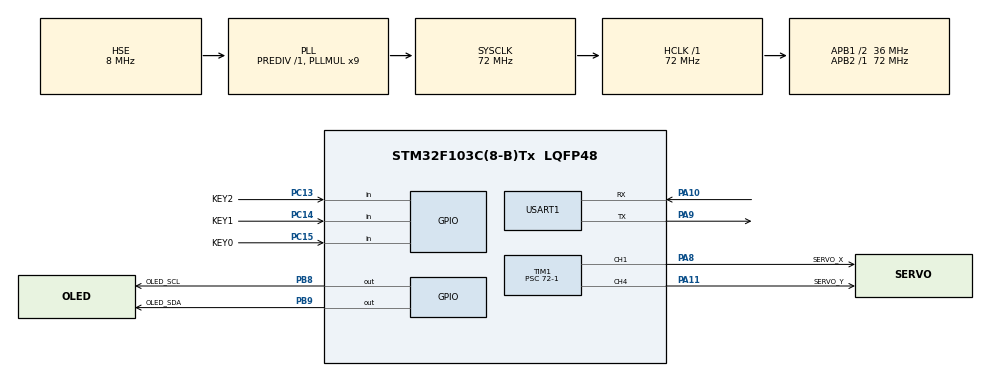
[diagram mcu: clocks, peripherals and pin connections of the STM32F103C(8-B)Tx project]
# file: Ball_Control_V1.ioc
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Dma.Request0=USART1_RX
Dma.USART1_RX.0.Direction=DMA_PERIPH_TO_MEMORY
Dma.USART1_RX.0.Instance=DMA1_Channel5
Dma.USART1_RX.0.MemDataAlignment=DMA_MDATAALIGN_BYTE
Dma.USART1_RX.0.MemInc=DMA_MINC_ENABLE
Dma.USART1_RX.0.Mode=DMA_CIRCULAR
Dma.USART1_RX.0.PeriphDataAlignment=DMA_PDATAALIGN_BYTE
Dma.USART1_RX.0.PeriphInc=DMA_PINC_DISABLE
Dma.USART1_RX.0.Priority=DMA_PRIORITY_LOW
Mcu.Family=STM32F1
Mcu.Name=STM32F103C(8-B)Tx
Mcu.Package=LQFP48
NVIC.DMA1_Channel5_IRQn=true\:3\:0\:true\:false\:true\:false\:true\:true
NVIC.PriorityGroup=NVIC_PRIORITYGROUP_4
NVIC.TIM2_IRQn=true\:1\:0\:true\:false\:true\:true\:true\:true
NVIC.USART1_IRQn=true\:2\:0\:true\:false\:true\:true\:true\:true
PA10.Mode=Asynchronous
PA10.Signal=USART1_RX
PA11.GPIO_Label=SERVO_Y
PA11.Signal=S_TIM1_CH4
PA13.Mode=Serial_Wire
PA13.Signal=SYS_JTMS-SWDIO
PA14.Mode=Serial_Wire
PA14.Signal=SYS_JTCK-SWCLK
PA8.GPIO_Label=SERVO_X
PA8.Signal=S_TIM1_CH1
PA9.Mode=Asynchronous
PA9.Signal=USART1_TX
PB8.GPIO_Label=OLED_SCL
PB8.GPIO_Speed=GPIO_SPEED_FREQ_HIGH
PB8.Signal=GPIO_Output
PB9.GPIO_Label=OLED_SDA
PB9.GPIO_Speed=GPIO_SPEED_FREQ_HIGH
PB9.Signal=GPIO_Output
PC13-TAMPER-RTC.GPIO_Label=KEY2
PC13-TAMPER-RTC.GPIO_PuPd=GPIO_PULLUP
PC13-TAMPER-RTC.Signal=GPIO_Input
PC14-OSC32_IN.GPIO_Label=KEY1
PC14-OSC32_IN.GPIO_PuPd=GPIO_PULLUP
PC14-OSC32_IN.Signal=GPIO_Input
PC15-OSC32_OUT.GPIO_Label=KEY0
PC15-OSC32_OUT.GPIO_PuPd=GPIO_PULLUP
PC15-OSC32_OUT.Signal=GPIO_Input
PD0-OSC_IN.Mode=HSE-External-Oscillator
PD0-OSC_IN.Signal=RCC_OSC_IN
PD1-OSC_OUT.Mode=HSE-External-Oscillator
PD1-OSC_OUT.Signal=RCC_OSC_OUT
ProjectManager.HeapSize=0x200
ProjectManager.StackSize=0x400
ProjectManager.TargetToolchain=Makefile
RCC.AHBFreq_Value=72000000
RCC.APB1CLKDivider=RCC_HCLK_DIV2
RCC.APB1Freq_Value=36000000
RCC.APB1TimFreq_Value=72000000
RCC.APB2Freq_Value=72000000
RCC.APB2TimFreq_Value=72000000
RCC.HCLKFreq_Value=72000000
RCC.PLLMUL=RCC_PLL_MUL9
RCC.PLLSourceVirtual=RCC_PLLSOURCE_HSE
RCC.SYSCLKFreq_VALUE=72000000
RCC.SYSCLKSource=RCC_SYSCLKSOURCE_PLLCLK
RCC.USBFreq_Value=72000000
SH.S_TIM1_CH1.0=TIM1_CH1,PWM Generation1 CH1
SH.S_TIM1_CH4.0=TIM1_CH4,PWM Generation4 CH4
TIM1.AutoReloadPreload=TIM_AUTORELOAD_PRELOAD_ENABLE
TIM1.Channel-PWM\ Generation1\ CH1=TIM_CHANNEL_1
TIM1.Channel-PWM\ Generation4\ CH4=TIM_CHANNEL_4
TIM1.Period=20000-1
TIM1.Prescaler=72-1
TIM2.Period=20000-1
TIM2.Prescaler=72-1
USART1.VirtualMode=VM_ASYNC
VP_TIM1_VS_ClockSourceINT.Mode=Internal
VP_TIM2_VS_ClockSourceINT.Mode=Internal
board=custom

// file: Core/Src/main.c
/* USER CODE BEGIN Header */
/**
  ******************************************************************************
  * @file           : main.c
  * @brief          : Main program body
  ******************************************************************************
  * @attention
  *
  * Copyright (c) 2026 STMicroelectronics.
  * All rights reserved.
  *
  * This software is licensed under terms that can be found in the LICENSE file
  * in the root directory of this software component.
  * If no LICENSE file comes with this software, it is provided AS-IS.
  *
  ******************************************************************************
  */
/* USER CODE END Header */
#include "main.h"
#include "dma.h"
#include "tim.h"
#include "usart.h"
#include "gpio.h"

/* USER CODE BEGIN Includes */
#include <string.h>
#include <stdlib.h> // strtof 所在库
#include <stdio.h>
#include <math.h>   // fabsf
#include "oled.h"   // 引入真实的 OLED 驱动
/* USER CODE END Includes */

/* USER CODE BEGIN PD */
#define CONTROL_DT                0.02f
#define DERIV_TAU                 0.03f
#define CONTROL_OUTPUT_LIMIT      300.0f
#define INTEGRAL_OUTPUT_LIMIT      80.0f   /* [C2] I项输出限幅 */
#define ERROR_DEADBAND_MM           2.0f   /* [C2] 死区 */

#define SERVO_CENTER_US           1500.0f
#define SERVO_MIN_US              1200.0f
#define SERVO_MAX_US              1800.0f

#define SERVO_X_DIR               1
#define SERVO_Y_DIR              -1

#define POS_MIN_MM                0.0f
#define POS_MAX_MM                300.0f
#define POS_FILTER_ALPHA          0.5f   /* [C1] 加快低通响应 */

#define LOST_FRAME_THRESHOLD      5
#define RX_TIMEOUT_MS             120U

/* USER CODE END PD */

void SystemClock_Config(void);

/* USER CODE BEGIN 0 */
typedef enum {
  STATE_INIT = 0,
  STATE_RUN,
  STATE_LOST
} ControlState;

typedef struct {
    float Kp, Ki, Kd;
    float integral;
  float last_measurement;
  float last_derivative;
} PID_TypeDef;

volatile PID_TypeDef pid_x, pid_y;

volatile ControlState control_state = STATE_INIT;

volatile float target_x = 150.0f;
volatile float target_y = 150.0f;
volatile float current_x = 0.0f;
volatile float current_y = 0.0f;
float last_pos_x = 0.0f;
float last_pos_y = 0.0f;
volatile uint8_t pos_filter_seeded = 0;  /* [C1] 首帧seed标志 */

uint8_t rx_buffer[50];
volatile uint8_t parse_buffer[50];
volatile uint8_t rx_flag = 0;
volatile uint16_t rx_len = 0;

volatile uint8_t data_ready_flag = 0;
volatile uint8_t servo_center_flag = 0;
volatile uint32_t last_rx_tick = 0;
int lost_frame_count = 0;
int invalid_frame_count = 0;

/* [C1] 重置PID内部状态 */
static void PID_Reset(volatile PID_TypeDef *pid, float measurement)
{
  pid->integral = 0.0f;
  pid->last_measurement = measurement;
  pid->last_derivative = 0.0f;
}

/* [C1] 进入LOST状态，同时清滤波器和PID历史 */
static void Control_EnterLostState(void)
{
  data_ready_flag = 0;
  servo_center_flag = 1;
  lost_frame_count = LOST_FRAME_THRESHOLD;
  control_state = STATE_LOST;
  pos_filter_seeded = 0;
  PID_Reset(&pid_x, current_x);
  PID_Reset(&pid_y, current_y);
}
/* [T1] 判断字符串是否是纯空白（不计入 invalid_frame_count） */
static uint8_t IsBlankLine(const char *p)
{
  while (*p == ' ' || *p == '\r' || *p == '\n' || *p == '\t') {
    p++;
  }
  return (*p == '\0');
}
/* USER CODE END 0 */

int main(void)
{

  /* MCU Configuration--------------------------------------------------------*/

  /* Reset of all peripherals, Initializes the Flash interface and the Systick. */
  HAL_Init();

  /* Configure the system clock */
  SystemClock_Config();

  /* Initialize all configured peripherals */
  MX_GPIO_Init();
  MX_DMA_Init();
  MX_TIM1_Init();
  MX_USART1_UART_Init();
  MX_TIM2_Init();
  /* USER CODE BEGIN 2 */
pid_x.Kp = 1.2f; pid_x.Ki = 0.05f; pid_x.Kd = 0.3f; pid_x.integral = 0.0f; pid_x.last_measurement = 0.0f; pid_x.last_derivative = 0.0f;
pid_y = pid_x;

// OLED 初始化与开机动画 (注意这里函数名改成了 OLED_ShowStr，并且加了 unsigned char* 强转消除警告)
OLED_Init();
OLED_Clear();
OLED_ShowStr(0, 0, (unsigned char*)"Ball Plate V1.0", 1);
OLED_ShowStr(0, 2, (unsigned char*)"System Booting...", 1);
HAL_Delay(500);
OLED_Clear();

/* [S1] UART DMA 加返回值检查 */
if (HAL_UART_Receive_DMA(&huart1, rx_buffer, sizeof(rx_buffer)) != HAL_OK) {
    Error_Handler();
}
__HAL_UART_ENABLE_IT(&huart1, UART_IT_IDLE);
last_rx_tick = HAL_GetTick();

/* [S1] 先写中位再开PWM，用 SERVO_CENTER_US 替代硬编码 */
__HAL_TIM_SET_COMPARE(&htim1, TIM_CHANNEL_1, (uint32_t)SERVO_CENTER_US);
__HAL_TIM_SET_COMPARE(&htim1, TIM_CHANNEL_4, (uint32_t)SERVO_CENTER_US);

if (HAL_TIM_PWM_Start(&htim1, TIM_CHANNEL_1) != HAL_OK) {
    Error_Handler();
}
if (HAL_TIM_PWM_Start(&htim1, TIM_CHANNEL_4) != HAL_OK) {
    Error_Handler();
}

HAL_Delay(500);  /* [S1] PWM启动后等待舵机机械归中 */

if (HAL_TIM_Base_Start_IT(&htim2) != HAL_OK) {
    Error_Handler();
}
  /* USER CODE END 2 */

  /* Infinite loop */
  /* USER CODE BEGIN WHILE */
 uint32_t last_oled_tick = 0;

while (1)
{
    // === 阶段 A: 解析串口数据 ===
    if (rx_flag == 1)
    {
        char local_buf[50];

        __disable_irq();
        rx_flag = 0;
        memcpy(local_buf, (void*)parse_buffer, sizeof(local_buf));
        __enable_irq();

        char *p = local_buf;
        float raw_x = 0.0f;
        float raw_y = 0.0f;
        uint8_t valid_pos_frame = 0;

        while (*p == ' ' || *p == '\r' || *p == '\n' || *p == '\t') {
          p++;
        }

        if (p[0] == 'X' && p[1] == ':') {
            char *endptr;
          raw_x = strtof(p + 2, &endptr);
          char *comma = strchr(endptr, ',');
            if (comma && *(comma + 1) == 'Y' && *(comma + 2) == ':') {
              char *y_start = comma + 3;
              char *y_end;
              raw_y = strtof(y_start, &y_end);
              if (y_end != y_start &&
                  (*y_end == '\0' || *y_end == '\r' || *y_end == '\n' ||
                   *y_end == ' ' || *y_end == '\t')) {
                valid_pos_frame = 1;
              }
            }
        }

        if (valid_pos_frame) {
          raw_x = fminf(POS_MAX_MM, fmaxf(POS_MIN_MM, raw_x));
          raw_y = fminf(POS_MAX_MM, fmaxf(POS_MIN_MM, raw_y));

          /* [C1] 首帧/恢复用原始值seed，避免从0低通 */
          if (!pos_filter_seeded || control_state != STATE_RUN) {
            last_pos_x = raw_x;
            last_pos_y = raw_y;
            pos_filter_seeded = 1U;
          } else {
            last_pos_x = POS_FILTER_ALPHA * raw_x + (1.0f - POS_FILTER_ALPHA) * last_pos_x;
            last_pos_y = POS_FILTER_ALPHA * raw_y + (1.0f - POS_FILTER_ALPHA) * last_pos_y;
          }

          current_x = last_pos_x;
          current_y = last_pos_y;

          /* [C1] 状态恢复时重置PID历史 */
          if (control_state != STATE_RUN) {
            PID_Reset(&pid_x, current_x);
            PID_Reset(&pid_y, current_y);
          }

          last_rx_tick = HAL_GetTick();
          data_ready_flag = 1U;
          lost_frame_count = 0;
          invalid_frame_count = 0;
          control_state = STATE_RUN;
        }
        else if (p[0] == 'T' && p[1] == ':') {
            char *endptr;
            float temp_x = strtof(p + 2, &endptr);
            char *comma = strchr(endptr, ',');
            if (comma && *(comma + 1) == 'Y' && *(comma + 2) == ':') {
              char *y_start = comma + 3;
              char *y_end;
              float temp_y = strtof(y_start, &y_end);
              if (y_end != y_start &&
                  (*y_end == '\0' || *y_end == '\r' || *y_end == '\n' ||
                   *y_end == ' ' || *y_end == '\t')) {
                target_x = fminf(POS_MAX_MM, fmaxf(POS_MIN_MM, temp_x));
                target_y = fminf(POS_MAX_MM, fmaxf(POS_MIN_MM, temp_y));
              }
            }
        }
        else if (strncmp(p, "PID:", 4) == 0) {
          char *cursor = p + 4;
          char *endptr;
          float p_val = strtof(cursor, &endptr);
          if (endptr != cursor && *endptr == ',') {
            cursor = endptr + 1;
            float i_val = strtof(cursor, &endptr);
            if (endptr != cursor && *endptr == ',') {
              cursor = endptr + 1;
              float d_val = strtof(cursor, &endptr);

              /* [C3] 跳过尾部空白 */
              while (*endptr == ' ' || *endptr == '\r' || *endptr == '\n' || *endptr == '\t') {
                endptr++;
              }

              /* [C3] 帧尾干净 + 数值有效 + 范围检查，全满足才写入 */
              if (endptr != cursor &&
                  *endptr == '\0' &&
                  isfinite(p_val) && isfinite(i_val) && isfinite(d_val) &&
                  p_val > 0.0f && p_val < 10.0f &&
                  i_val >= 0.0f && i_val < 5.0f &&
                  d_val >= 0.0f && d_val < 5.0f) {

                __disable_irq();
                /* [C3] 逐字段赋值，避免 pid_y=pid_x 污染 last_measurement */
                pid_x.Kp = p_val;
                pid_x.Ki = i_val;
                pid_x.Kd = d_val;
                pid_y.Kp = p_val;
                pid_y.Ki = i_val;
                pid_y.Kd = d_val;
                PID_Reset(&pid_x, current_x);
                PID_Reset(&pid_y, current_y);
                __enable_irq();
              }
            }
          }
        }
        else if (strncmp(p, "LOST", 4) == 0 &&
                 (p[4] == '\0' || p[4] == '\r' || p[4] == '\n' ||
                  p[4] == ' ' || p[4] == '\t')) {
          Control_EnterLostState();  /* [C1] 清PID/滤波状态 */
        }
            else if (!IsBlankLine(p)) {  /* [T1] 空白帧不计入 invalid */
              invalid_frame_count++;
              data_ready_flag = 0;
              if (invalid_frame_count >= LOST_FRAME_THRESHOLD) {
                Control_EnterLostState();
              }
            }
    }

    // === 阶段 B: OLED 异步显示 ===
    if (HAL_GetTick() - last_oled_tick >= 100)
    {
        last_oled_tick = HAL_GetTick();
        char disp_buf[20];

        sprintf(disp_buf, "Cur:X%03d Y%03d", (int)current_x, (int)current_y);
        OLED_ShowStr(0, 0, (unsigned char*)disp_buf, 1);

        sprintf(disp_buf, "Tar:X%03d Y%03d", (int)target_x, (int)target_y);
        OLED_ShowStr(0, 2, (unsigned char*)disp_buf, 1);

        if (control_state == STATE_RUN)       OLED_ShowStr(0, 4, (unsigned char*)"Stat: TRACKING ", 1);
        else if (control_state == STATE_LOST) OLED_ShowStr(0, 4, (unsigned char*)"Stat: LOST/CENT", 1);
        else                                  OLED_ShowStr(0, 4, (unsigned char*)"Stat: WAIT VIS ", 1);

        sprintf(disp_buf, "L-Cnt:%d   ", lost_frame_count);
        OLED_ShowStr(0, 6, (unsigned char*)disp_buf, 1);
    }
    /* USER CODE END WHILE */

  }
}

void SystemClock_Config(void)
{
  RCC_OscInitTypeDef RCC_OscInitStruct = {0};
  RCC_ClkInitTypeDef RCC_ClkInitStruct = {0};

  /** Initializes the RCC Oscillators according to the specified parameters
  * in the RCC_OscInitTypeDef structure.
  */
  RCC_OscInitStruct.OscillatorType = RCC_OSCILLATORTYPE_HSE;
  RCC_OscInitStruct.HSEState = RCC_HSE_ON;
  RCC_OscInitStruct.HSEPredivValue = RCC_HSE_PREDIV_DIV1;
  RCC_OscInitStruct.HSIState = RCC_HSI_ON;
  RCC_OscInitStruct.PLL.PLLState = RCC_PLL_ON;
  RCC_OscInitStruct.PLL.PLLSource = RCC_PLLSOURCE_HSE;
  RCC_OscInitStruct.PLL.PLLMUL = RCC_PLL_MUL9;
  if (HAL_RCC_OscConfig(&RCC_OscInitStruct) != HAL_OK)
  {
    Error_Handler();
  }

  /** Initializes the CPU, AHB and APB buses clocks
  */
  RCC_ClkInitStruct.ClockType = RCC_CLOCKTYPE_HCLK|RCC_CLOCKTYPE_SYSCLK
                              |RCC_CLOCKTYPE_PCLK1|RCC_CLOCKTYPE_PCLK2;
  RCC_ClkInitStruct.SYSCLKSource = RCC_SYSCLKSOURCE_PLLCLK;
  RCC_ClkInitStruct.AHBCLKDivider = RCC_SYSCLK_DIV1;
  RCC_ClkInitStruct.APB1CLKDivider = RCC_HCLK_DIV2;
  RCC_ClkInitStruct.APB2CLKDivider = RCC_HCLK_DIV1;

  if (HAL_RCC_ClockConfig(&RCC_ClkInitStruct, FLASH_LATENCY_2) != HAL_OK)
  {
    Error_Handler();
  }
}

/* USER CODE BEGIN 4 */
#define LIMIT(val, min, max) ((val) < (min) ? (min) : ((val) > (max) ? (max) : (val)))

float PID_Calculate(volatile PID_TypeDef *pid, float target, float current, float dt)
{
  if (dt <= 0.0f) {
    dt = CONTROL_DT;
  }

    float error = target - current;
    /* [C2] 死区：目标附近不产生控制量 */
    if (fabsf(error) < ERROR_DEADBAND_MM) {
      error = 0.0f;
    }

    pid->integral += (error * dt);

    /* [C2] 积分限幅按I项输出量级 */
    if (pid->Ki > 0.0f) {
      float integral_limit = INTEGRAL_OUTPUT_LIMIT / pid->Ki;
      pid->integral = LIMIT(pid->integral, -integral_limit, integral_limit);
    } else {
      pid->integral = 0.0f;
    }

  float raw_derivative = -(current - pid->last_measurement) / dt;
  float alpha = dt / (DERIV_TAU + dt);
  pid->last_derivative = alpha * raw_derivative + (1.0f - alpha) * pid->last_derivative;
  pid->last_measurement = current;

  float output = (pid->Kp * error) + (pid->Ki * pid->integral) + (pid->Kd * pid->last_derivative);
  output = LIMIT(output, -CONTROL_OUTPUT_LIMIT, CONTROL_OUTPUT_LIMIT);

  return output;
}

void HAL_TIM_PeriodElapsedCallback(TIM_HandleTypeDef *htim)
{
    if (htim->Instance == TIM2)
    {
    if ((HAL_GetTick() - last_rx_tick) > RX_TIMEOUT_MS) {
      Control_EnterLostState();  /* [C1] 超时清PID/滤波状态 */
    }

        if(servo_center_flag) {
            servo_center_flag = 0;
            __HAL_TIM_SET_COMPARE(&htim1, TIM_CHANNEL_1, (uint32_t)SERVO_CENTER_US);
            __HAL_TIM_SET_COMPARE(&htim1, TIM_CHANNEL_4, (uint32_t)SERVO_CENTER_US);
            return;
        }

    if(data_ready_flag == 0 || control_state != STATE_RUN) return;

    float pid_out_x = PID_Calculate(&pid_x, target_x, current_x, CONTROL_DT);
    float pid_out_y = PID_Calculate(&pid_y, target_y, current_y, CONTROL_DT);

    float pwm_x = SERVO_CENTER_US + ((float)SERVO_X_DIR * pid_out_x);
    float pwm_y = SERVO_CENTER_US + ((float)SERVO_Y_DIR * pid_out_y);

    pwm_x = LIMIT(pwm_x, SERVO_MIN_US, SERVO_MAX_US);
    pwm_y = LIMIT(pwm_y, SERVO_MIN_US, SERVO_MAX_US);

    uint32_t ccr_x = (uint32_t)pwm_x;
    uint32_t ccr_y = (uint32_t)pwm_y;

        __HAL_TIM_SET_COMPARE(&htim1, TIM_CHANNEL_1, ccr_x);
        __HAL_TIM_SET_COMPARE(&htim1, TIM_CHANNEL_4, ccr_y);
    }
}
/* USER CODE END 4 */

void Error_Handler(void)
{
  __disable_irq();
  while (1)
  {
  }
}
